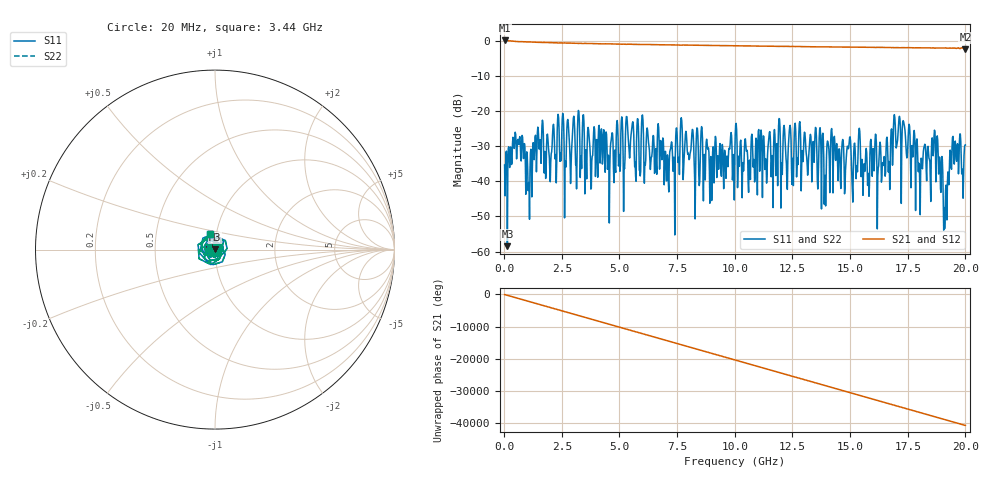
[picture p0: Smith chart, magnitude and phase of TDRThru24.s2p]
! File created by SignalIntegrity v1.3.3: Signal and Power Integrity Tools
! https://github.com/TeledyneLeCroy/SignalIntegrity
# MHz S MA R 50.0
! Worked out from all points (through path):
!   1000 points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, 20 MHz to 20 GHz, reference 50 ohm
!   highest |S21| = 0.15 dB at 20 MHz (marker M1); lowest = -2.4 dB at 20 GHz (marker M2)
!   lowest |S11| = -58.5 dB at 140 MHz (marker M3), VSWR 1.00, Z = 49.9 + j0.0928 ohm
!   |S11| at or under -10 dB: start of sweep to end of sweep
!   |S22| runs from -58.5 to -19.8 dB; largest |S21 - S12| = 0
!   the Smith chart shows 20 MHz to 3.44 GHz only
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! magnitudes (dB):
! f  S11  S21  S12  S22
! 20 MHz  -35.3  0.2  0.2  -35.3
! 140 MHz  -58.5  0.1  0.1  -58.5
! 480 MHz  -26.0  -0.1  -0.1  -26.0
! 1.12 GHz  -37.0  -0.3  -0.3  -37.0
! 1.58 GHz  -30.7  -0.4  -0.4  -30.7
! 3.36 GHz  -36.4  -0.7  -0.7  -36.4
! 6.68 GHz  -23.6  -1.1  -1.1  -23.6
! 7.04 GHz  -39.9  -1.1  -1.1  -39.9
! 7.64 GHz  -25.7  -1.2  -1.2  -25.7
! 9 GHz  -45.5  -1.3  -1.3  -45.5
! 10.02 GHz  -26.6  -1.4  -1.4  -26.6
! 13.34 GHz  -40.2  -1.6  -1.6  -40.2
! 13.76 GHz  -47.9  -1.7  -1.7  -47.9
! 13.86 GHz  -33.4  -1.7  -1.7  -33.4
! 14.26 GHz  -43.3  -1.7  -1.7  -43.3
! 16.68 GHz  -34.3  -1.9  -1.9  -34.3
! 17.34 GHz  -23.6  -1.9  -1.9  -23.6
! 18.04 GHz  -49.5  -1.9  -1.9  -49.5
! 18.72 GHz  -40.1  -2.0  -2.0  -40.1
! 19.12 GHz  -50.2  -2.0  -2.0  -50.2
! 19.4 GHz  -36.6  -2.0  -2.0  -36.6
! 20 GHz  -29.6  -2.4  -2.4  -29.6
